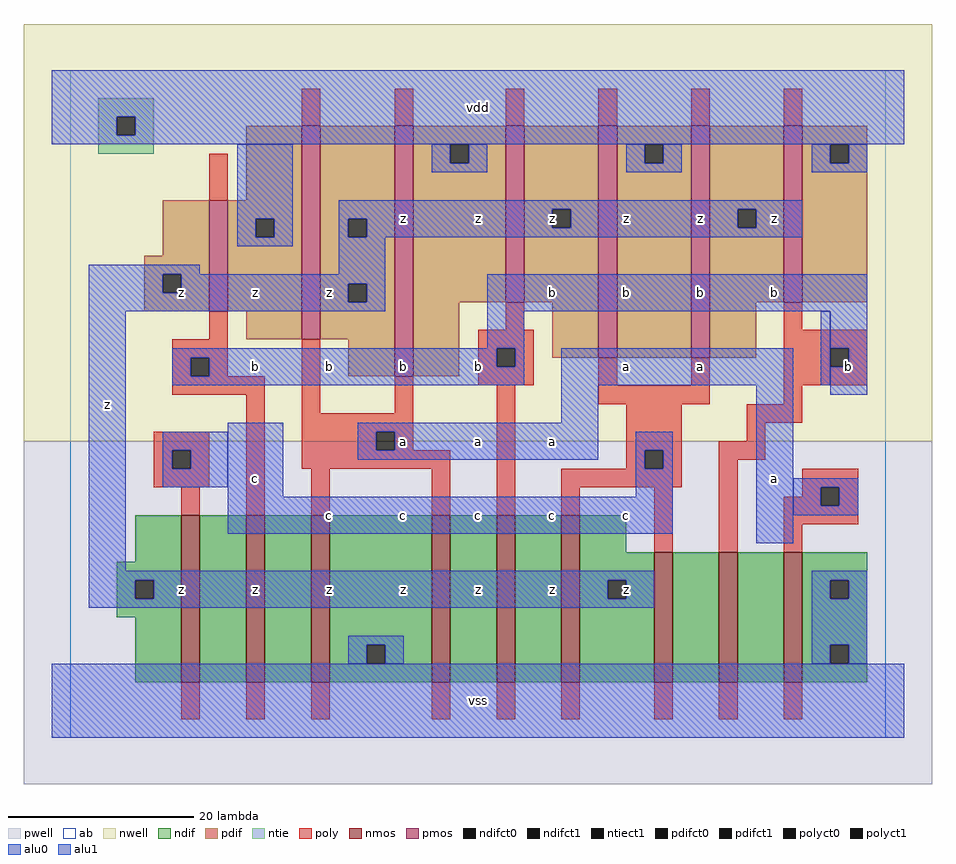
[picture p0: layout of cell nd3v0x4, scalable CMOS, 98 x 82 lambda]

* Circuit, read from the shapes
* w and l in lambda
.subckt nd3v0x4 a b c vdd vss z
M1 n1 c z VSUBS nfet w=18 l=2
M2 n2 b n1 VSUBS nfet w=18 l=2
M3 vss a n2 VSUBS nfet w=18 l=2
M4 n3 a vss VSUBS nfet w=18 l=2
M5 n4 b n3 VSUBS nfet w=18 l=2
M6 z c n4 VSUBS nfet w=18 l=2
M7 n5 c z VSUBS nfet w=14 l=2
M8 n6 b n5 VSUBS nfet w=14 l=2
M9 vss a n6 VSUBS nfet w=14 l=2
M10 vdd b z vdd pfet w=12 l=2
M11 z a vdd vdd pfet w=23 l=2
M12 vdd a z vdd pfet w=27 l=2
M13 z b vdd vdd pfet w=19 l=2 m=2
M14 vdd c z vdd pfet w=25 l=2 m=2
.ends

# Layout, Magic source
magic
tech scmos
<< ab >>
rect 0 0 88 72
<< nwell >>
rect -5 32 93 77
<< pwell >>
rect -5 -5 93 32
<< poly >>
rect 25 66 27 70
rect 35 66 37 70
rect 47 66 49 70
rect 57 66 59 70
rect 67 66 69 70
rect 77 66 79 70
rect 15 58 17 63
rect 15 43 17 46
rect 11 41 17 43
rect 11 39 13 41
rect 15 39 17 41
rect 11 37 21 39
rect 9 31 15 33
rect 9 29 11 31
rect 13 29 15 31
rect 9 27 15 29
rect 12 24 14 27
rect 19 24 21 37
rect 25 35 27 43
rect 47 44 49 47
rect 44 42 50 44
rect 44 40 46 42
rect 48 40 50 42
rect 77 44 79 47
rect 77 42 86 44
rect 35 35 37 39
rect 44 38 50 40
rect 57 38 59 41
rect 67 38 69 41
rect 25 33 37 35
rect 25 31 33 33
rect 35 31 37 33
rect 25 29 41 31
rect 26 24 28 29
rect 39 24 41 29
rect 46 24 48 38
rect 57 36 69 38
rect 77 40 82 42
rect 84 40 86 42
rect 77 38 86 40
rect 77 36 79 38
rect 60 31 66 36
rect 73 34 79 36
rect 73 32 75 34
rect 60 29 62 31
rect 64 29 66 31
rect 53 27 66 29
rect 70 30 75 32
rect 53 24 55 27
rect 63 20 65 27
rect 70 20 72 30
rect 79 27 85 29
rect 79 26 81 27
rect 77 25 81 26
rect 83 25 85 27
rect 77 23 85 25
rect 77 20 79 23
rect 12 2 14 6
rect 19 2 21 6
rect 26 2 28 6
rect 39 2 41 6
rect 46 2 48 6
rect 53 2 55 6
rect 63 2 65 6
rect 70 2 72 6
rect 77 2 79 6
<< ndif >>
rect 7 19 12 24
rect 5 17 12 19
rect 5 15 7 17
rect 9 15 12 17
rect 5 13 12 15
rect 7 6 12 13
rect 14 6 19 24
rect 21 6 26 24
rect 28 10 39 24
rect 28 8 32 10
rect 34 8 39 10
rect 28 6 39 8
rect 41 6 46 24
rect 48 6 53 24
rect 55 20 60 24
rect 55 17 63 20
rect 55 15 58 17
rect 60 15 63 17
rect 55 6 63 15
rect 65 6 70 20
rect 72 6 77 20
rect 79 17 86 20
rect 79 15 82 17
rect 84 15 86 17
rect 79 10 86 15
rect 79 8 82 10
rect 84 8 86 10
rect 79 6 86 8
<< pdif >>
rect 19 58 25 66
rect 10 52 15 58
rect 8 50 15 52
rect 8 48 10 50
rect 12 48 15 50
rect 8 46 15 48
rect 17 56 25 58
rect 17 54 20 56
rect 22 54 25 56
rect 17 46 25 54
rect 19 43 25 46
rect 27 56 35 66
rect 27 54 30 56
rect 32 54 35 56
rect 27 49 35 54
rect 27 47 30 49
rect 32 47 35 49
rect 27 43 35 47
rect 30 39 35 43
rect 37 64 47 66
rect 37 62 41 64
rect 43 62 47 64
rect 37 47 47 62
rect 49 57 57 66
rect 49 55 52 57
rect 54 55 57 57
rect 49 47 57 55
rect 37 39 42 47
rect 52 41 57 47
rect 59 64 67 66
rect 59 62 62 64
rect 64 62 67 64
rect 59 41 67 62
rect 69 57 77 66
rect 69 55 72 57
rect 74 55 77 57
rect 69 47 77 55
rect 79 64 86 66
rect 79 62 82 64
rect 84 62 86 64
rect 79 47 86 62
rect 69 41 74 47
<< alu1 >>
rect -2 67 90 72
rect -2 65 5 67
rect 7 65 90 67
rect -2 64 90 65
rect 29 57 79 58
rect 29 56 52 57
rect 29 54 30 56
rect 32 55 52 56
rect 54 55 72 57
rect 74 55 79 57
rect 32 54 79 55
rect 2 50 14 51
rect 29 50 34 54
rect 2 48 10 50
rect 12 49 34 50
rect 12 48 30 49
rect 2 47 30 48
rect 32 47 34 49
rect 2 46 34 47
rect 45 46 86 50
rect 2 18 6 46
rect 45 42 49 46
rect 11 41 46 42
rect 11 39 13 41
rect 15 40 46 41
rect 48 40 49 42
rect 15 39 49 40
rect 11 38 49 39
rect 53 38 78 42
rect 82 42 86 46
rect 84 40 86 42
rect 53 34 57 38
rect 17 26 23 34
rect 31 33 57 34
rect 31 31 33 33
rect 35 31 57 33
rect 31 30 57 31
rect 61 31 65 33
rect 61 29 62 31
rect 64 29 65 31
rect 61 26 65 29
rect 17 22 65 26
rect 74 21 78 38
rect 82 37 86 40
rect 2 17 63 18
rect 2 15 7 17
rect 9 15 58 17
rect 60 15 63 17
rect 2 14 63 15
rect -2 0 90 8
<< ntie >>
rect 3 67 9 69
rect 3 65 5 67
rect 7 65 9 67
rect 3 63 9 65
<< nmos >>
rect 12 6 14 24
rect 19 6 21 24
rect 26 6 28 24
rect 39 6 41 24
rect 46 6 48 24
rect 53 6 55 24
rect 63 6 65 20
rect 70 6 72 20
rect 77 6 79 20
<< pmos >>
rect 15 46 17 58
rect 25 43 27 66
rect 35 39 37 66
rect 47 47 49 66
rect 57 41 59 66
rect 67 41 69 66
rect 77 47 79 66
<< polyct0 >>
rect 11 29 13 31
rect 81 25 83 27
<< polyct1 >>
rect 13 39 15 41
rect 46 40 48 42
rect 33 31 35 33
rect 82 40 84 42
rect 62 29 64 31
<< ndifct0 >>
rect 32 8 34 10
rect 82 15 84 17
rect 82 8 84 10
<< ndifct1 >>
rect 7 15 9 17
rect 58 15 60 17
<< ntiect1 >>
rect 5 65 7 67
<< pdifct0 >>
rect 20 54 22 56
rect 41 62 43 64
rect 62 62 64 64
rect 82 62 84 64
<< pdifct1 >>
rect 10 48 12 50
rect 30 54 32 56
rect 30 47 32 49
rect 52 55 54 57
rect 72 55 74 57
<< alu0 >>
rect 18 56 24 64
rect 39 62 41 64
rect 43 62 45 64
rect 39 61 45 62
rect 60 62 62 64
rect 64 62 66 64
rect 60 61 66 62
rect 80 62 82 64
rect 84 62 86 64
rect 80 61 86 62
rect 18 54 20 56
rect 22 54 24 56
rect 18 53 24 54
rect 81 38 82 46
rect 10 31 17 33
rect 10 29 11 31
rect 13 29 17 31
rect 10 27 17 29
rect 78 27 85 28
rect 78 25 81 27
rect 83 25 85 27
rect 78 24 85 25
rect 80 17 86 18
rect 80 15 82 17
rect 84 15 86 17
rect 30 10 36 11
rect 30 8 32 10
rect 34 8 36 10
rect 80 10 86 15
rect 80 8 82 10
rect 84 8 86 10
<< labels >>
rlabel alu1 12 16 12 16 6 z
rlabel alu1 4 36 4 36 6 z
rlabel alu1 12 48 12 48 6 z
rlabel alu1 20 16 20 16 6 z
rlabel alu1 28 16 28 16 6 z
rlabel alu1 28 24 28 24 6 c
rlabel alu1 20 28 20 28 6 c
rlabel alu1 20 40 20 40 6 b
rlabel alu1 28 40 28 40 6 b
rlabel alu1 20 48 20 48 6 z
rlabel alu1 28 48 28 48 6 z
rlabel alu1 44 4 44 4 6 vss
rlabel alu1 44 16 44 16 6 z
rlabel alu1 36 16 36 16 6 z
rlabel alu1 36 24 36 24 6 c
rlabel alu1 44 24 44 24 6 c
rlabel alu1 44 32 44 32 6 a
rlabel alu1 36 32 36 32 6 a
rlabel alu1 36 40 36 40 6 b
rlabel alu1 44 40 44 40 6 b
rlabel alu1 44 56 44 56 6 z
rlabel alu1 36 56 36 56 6 z
rlabel alu1 44 68 44 68 6 vdd
rlabel alu1 60 16 60 16 6 z
rlabel alu1 52 16 52 16 6 z
rlabel alu1 52 24 52 24 6 c
rlabel alu1 60 24 60 24 6 c
rlabel alu1 52 32 52 32 6 a
rlabel alu1 60 40 60 40 6 a
rlabel alu1 68 40 68 40 6 a
rlabel alu1 52 48 52 48 6 b
rlabel alu1 60 48 60 48 6 b
rlabel alu1 68 48 68 48 6 b
rlabel alu1 60 56 60 56 6 z
rlabel alu1 68 56 68 56 6 z
rlabel alu1 52 56 52 56 6 z
rlabel alu1 76 28 76 28 6 a
rlabel alu1 84 40 84 40 6 b
rlabel alu1 76 48 76 48 6 b
rlabel alu1 76 56 76 56 6 z
<< end >>
